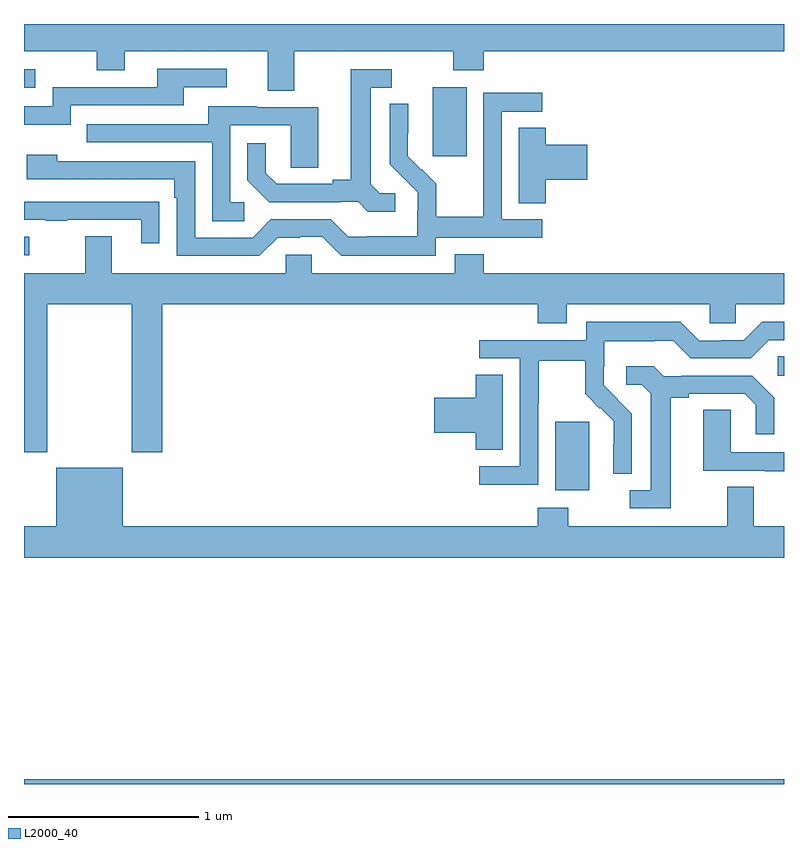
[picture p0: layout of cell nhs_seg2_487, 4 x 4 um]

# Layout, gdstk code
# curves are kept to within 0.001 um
import gdstk
lib = gdstk.Library(unit=1e-6, precision=1e-09)
def R(c, l, rs):  # rectangles x0, y0, x1, y1
    for r in rs: c.add(gdstk.rectangle(r[:2], r[2:], *l))
def P(c, l, *ps):  # polygons
    for p in ps: c.add(gdstk.Polygon(p, *l))
L2000_40 = (2000, 40)

nhs_seg2_487 = lib.new_cell('nhs_seg2_487')
R(nhs_seg2_487, L2000_40, [(135,623.8,139,623.824), (137.795,625.346,137.974,625.707), (138.966,625.95,139,626.051), (135,626.583,135.028,626.679), (137.15,627.105,137.329,627.466), (135,627.465,135.058,627.561)])
P(nhs_seg2_487, L2000_40, [(136.423,627.656),(137.26,627.656),(137.26,627.557),(137.42,627.557),(137.42,627.656),(139,627.656),(139,627.8),(135,627.8),(135,627.656),(135.382,627.656),(135.382,627.557),(135.529,627.557),(135.529,627.656),(136.283,627.656),(136.283,627.448),(136.423,627.448)],
  [(135.246,627.372),(135.841,627.372),(135.841,627.468),(136.066,627.468),(136.066,627.564),(135.701,627.564),(135.701,627.468),(135.15,627.468),(135.15,627.366),(135,627.366),(135,627.269),(135.246,627.269)],
  [(136.954,626.91),(136.872,626.91),(136.825,626.957),(136.825,627.465),(136.936,627.465),(136.936,627.561),(136.721,627.561),(136.721,626.981),(136.625,626.981),(136.625,626.958),(136.33,626.958),(136.273,627.015),(136.273,627.172),(136.176,627.172),(136.176,626.978),(136.292,626.862),(136.664,626.862),(136.664,626.865),(136.758,626.865),(136.81,626.813),(136.954,626.813)],
  [(137.166,626.676),(137.728,626.676),(137.728,626.772),(137.514,626.772),(137.514,627.339),(137.728,627.339),(137.728,627.438),(137.418,627.438),(137.418,627.008),(137.416,627.008),(137.416,626.785),(137.171,626.785),(137.171,626.959),(137.094,627.036),(137.091,627.033),(137.021,627.104),(137.022,627.38),(136.926,627.38),(136.926,627.062),(137.072,626.914),(137.072,626.817),(137.07,626.817),(137.07,626.683),(136.807,626.683),(136.807,626.679),(136.707,626.679),(136.614,626.772),(136.299,626.772),(136.203,626.676),(135.9,626.676),(135.9,627.078),(135.176,627.078),(135.176,627.112),(135.015,627.112),(135.015,626.982),(135.791,626.982),(135.791,626.885),(135.804,626.885),(135.804,626.58),(136.239,626.58),(136.335,626.676),(136.454,626.676),(136.454,626.679),(136.569,626.679),(136.669,626.579),(137.166,626.579)],
  [(136.159,626.862),(136.086,626.862),(136.086,627.267),(136.404,627.267),(136.404,627.043),(136.549,627.043),(136.549,627.363),(136.225,627.363),(136.225,627.367),(135.971,627.367),(135.971,627.273),(135.331,627.273),(135.331,627.177),(135.99,627.177),(135.99,626.761),(136.159,626.761)],
  [(137.747,626.981),(137.965,626.981),(137.965,627.164),(137.747,627.164),(137.747,627.254),(137.603,627.254),(137.603,626.857),(137.747,626.857)],
  [(135.713,626.864),(135.611,626.864),(135.611,626.865),(135,626.865),(135,626.769),(135.115,626.769),(135.115,626.764),(135.227,626.764),(135.227,626.769),(135.617,626.769),(135.617,626.646),(135.713,626.646)],
  [(135.123,626.324),(135.568,626.324),(135.568,625.545),(135.728,625.545),(135.728,626.324),(137.705,626.324),(137.705,626.225),(137.857,626.225),(137.857,626.324),(138.609,626.324),(138.609,626.226),(138.747,626.226),(138.747,626.324),(139,626.324),(139,626.488),(137.42,626.488),(137.42,626.587),(137.267,626.587),(137.267,626.488),(136.515,626.488),(136.515,626.586),(136.377,626.586),(136.377,626.488),(135.463,626.488),(135.463,626.683),(135.323,626.683),(135.323,626.488),(135,626.488),(135,625.545),(135.123,625.545)],
  [(137.706,625.804),(137.709,625.804),(137.709,626.028),(137.953,626.028),(137.953,625.853),(138.03,625.776),(138.033,625.779),(138.104,625.709),(138.104,625.586),(138.102,625.586),(138.102,625.432),(138.198,625.432),(138.198,625.75),(138.052,625.898),(138.052,625.995),(138.054,625.995),(138.054,626.129),(138.317,626.129),(138.317,626.133),(138.417,626.133),(138.51,626.04),(138.825,626.04),(138.921,626.136),(139,626.136),(139,626.232),(138.885,626.232),(138.789,626.136),(138.671,626.136),(138.671,626.133),(138.555,626.133),(138.455,626.233),(137.958,626.233),(137.958,626.136),(137.397,626.136),(137.397,626.04),(137.61,626.04),(137.61,625.473),(137.397,625.473),(137.397,625.375),(137.706,625.375)],
  [(138.403,625.832),(138.499,625.832),(138.499,625.854),(138.794,625.854),(138.851,625.797),(138.851,625.641),(138.948,625.641),(138.948,625.834),(138.832,625.95),(138.46,625.95),(138.46,625.947),(138.366,625.947),(138.314,625.999),(138.171,625.999),(138.171,625.902),(138.252,625.902),(138.299,625.855),(138.299,625.347),(138.189,625.347),(138.189,625.251),(138.403,625.251)],
  [(137.521,625.955),(137.378,625.955),(137.378,625.832),(137.16,625.832),(137.16,625.649),(137.378,625.649),(137.378,625.558),(137.521,625.558)],
  [(139,625.545),(138.72,625.545),(138.72,625.769),(138.575,625.769),(138.575,625.449),(138.899,625.449),(138.899,625.445),(139,625.445)],
  [(139,625.156),(138.841,625.156),(138.841,625.364),(138.701,625.364),(138.701,625.156),(137.865,625.156),(137.865,625.255),(137.705,625.255),(137.705,625.156),(135.52,625.156),(135.52,625.465),(135.17,625.465),(135.17,625.156),(135,625.156),(135,624.992),(139,624.992)])

lib.write_gds('nhs_seg2_487.gds')
